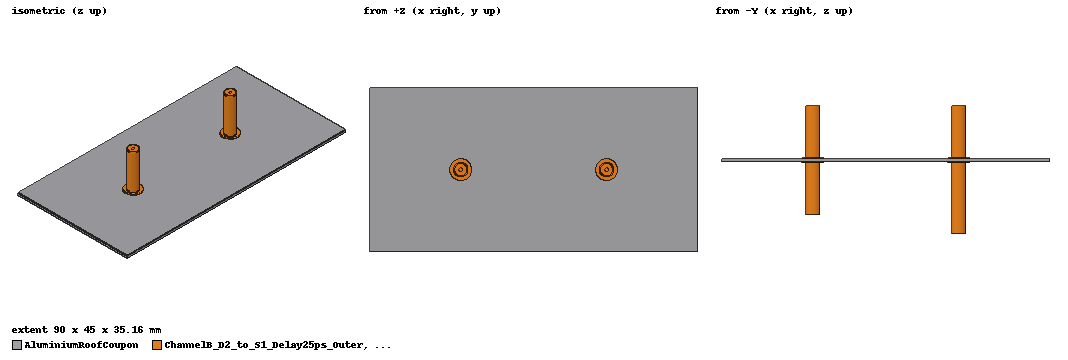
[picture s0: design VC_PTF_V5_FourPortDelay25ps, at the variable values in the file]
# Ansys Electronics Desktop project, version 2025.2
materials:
  vacuum: permittivity=1
  VC_PTFE: permittivity=2.1 dielectric_loss_tangent=0.0002
  aluminum: permeability=1.000021 conductivity=38000000
  copper: permeability=0.999991 conductivity=58000000

design VC_PTF_V5_FourPortDelay25ps (HFSS, HFSS Hybrid Modal Network, model units mm)
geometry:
  AluminiumRoofCoupon [aluminum] = box(corner=(-45mm, -22.5mm, -0.5mm), size=(90mm, 45mm, 1mm))
  RoofHoleTool1 = cylinder(axis=Z, base_centre=(-20mm, 0mm, -1mm), radius=2mm, height=2mm)
  AluminiumRoofCoupon.subtract(RoofHoleTool1)
  RoofHoleTool2 = cylinder(axis=Z, base_centre=(20mm, 0mm, -1mm), radius=2mm, height=2mm)
  AluminiumRoofCoupon.subtract(RoofHoleTool2)
  ChannelA_D1_to_S2_Inner [copper] = cylinder(axis=Z, base_centre=(-20mm, 0mm, -15mm), radius=0.5mm, height=30mm)
  ChannelA_D1_to_S2_PTFE [VC_PTFE] = cylinder(axis=Z, base_centre=(-20mm, 0mm, -15mm), radius=1.675mm, height=30mm)
  ChannelA_D1_to_S2_Outer [copper] = cylinder(axis=Z, base_centre=(-20mm, 0mm, -15mm), radius=2mm, height=30mm)
  ChannelA_D1_to_S2_OuterTool = cylinder(axis=Z, base_centre=(-20mm, 0mm, -15mm), radius=1.675mm, height=30mm)
  ChannelA_D1_to_S2_Outer.subtract(ChannelA_D1_to_S2_OuterTool)
  ChannelA_D1_to_S2_RoofBondTop = cylinder(axis=Z, base_centre=(-20mm, 0mm, 0.5mm), radius=3mm, height=0.2mm)
  ChannelA_D1_to_S2_RoofBondTopTool = cylinder(axis=Z, base_centre=(-20mm, 0mm, 0.49mm), radius=1.675mm, height=0.22mm)
  ChannelA_D1_to_S2_RoofBondTop.subtract(ChannelA_D1_to_S2_RoofBondTopTool)
  ChannelA_D1_to_S2_RoofBondBottom = cylinder(axis=Z, base_centre=(-20mm, 0mm, -0.7mm), radius=3mm, height=0.2mm)
  ChannelA_D1_to_S2_RoofBondBottomTool = cylinder(axis=Z, base_centre=(-20mm, 0mm, -0.71mm), radius=1.675mm, height=0.22mm)
  ChannelA_D1_to_S2_RoofBondBottom.subtract(ChannelA_D1_to_S2_RoofBondBottomTool)
  ChannelA_D1_to_S2_Outer.unite(ChannelA_D1_to_S2_RoofBondTop, ChannelA_D1_to_S2_RoofBondBottom)
  ChannelB_D2_to_S1_Delay25ps_Inner [copper] = cylinder(axis=Z, base_centre=(20mm, 0mm, -20.16mm), radius=0.5mm, height=35.16mm)
  ChannelB_D2_to_S1_Delay25ps_PTFE [VC_PTFE] = cylinder(axis=Z, base_centre=(20mm, 0mm, -20.16mm), radius=1.675mm, height=35.16mm)
  ChannelB_D2_to_S1_Delay25ps_Outer [copper] = cylinder(axis=Z, base_centre=(20mm, 0mm, -20.16mm), radius=2mm, height=35.16mm)
  ChannelB_D2_to_S1_Delay25ps_OuterTool = cylinder(axis=Z, base_centre=(20mm, 0mm, -20.16mm), radius=1.675mm, height=35.16mm)
  ChannelB_D2_to_S1_Delay25ps_Outer.subtract(ChannelB_D2_to_S1_Delay25ps_OuterTool)
  ChannelB_D2_to_S1_Delay25ps_RoofBondTop = cylinder(axis=Z, base_centre=(20mm, 0mm, 0.5mm), radius=3mm, height=0.2mm)
  ChannelB_D2_to_S1_Delay25ps_RoofBondTopTool = cylinder(axis=Z, base_centre=(20mm, 0mm, 0.49mm), radius=1.675mm, height=0.22mm)
  ChannelB_D2_to_S1_Delay25ps_RoofBondTop.subtract(ChannelB_D2_to_S1_Delay25ps_RoofBondTopTool)
  ChannelB_D2_to_S1_Delay25ps_RoofBondBottom = cylinder(axis=Z, base_centre=(20mm, 0mm, -0.7mm), radius=3mm, height=0.2mm)
  ChannelB_D2_to_S1_Delay25ps_RoofBondBottomTool = cylinder(axis=Z, base_centre=(20mm, 0mm, -0.71mm), radius=1.675mm, height=0.22mm)
  ChannelB_D2_to_S1_Delay25ps_RoofBondBottom.subtract(ChannelB_D2_to_S1_Delay25ps_RoofBondBottomTool)
  ChannelB_D2_to_S1_Delay25ps_Outer.unite(ChannelB_D2_to_S1_Delay25ps_RoofBondTop, ChannelB_D2_to_S1_Delay25ps_RoofBondBottom)
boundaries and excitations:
  Port1_DonorMinus: Wave Port Faces=ChannelA_D1_to_S2_PTFE.face(+z end) WavePortType=Modal NumModes=1 Modes{Mode1{IntLine{(-20, 0, 15) -> (-18.325, 0, 15)} CharImp=Zpi RenormImp=50ohm}}
  Port2_DonorPlus: Wave Port Faces=ChannelB_D2_to_S1_Delay25ps_PTFE.face(+z end) WavePortType=Modal NumModes=1 Modes{Mode1{IntLine{(20, 0, 15) -> (21.675, 0, 15)} CharImp=Zpi RenormImp=50ohm}}
  Port3_ServiceMinus: Wave Port Faces=ChannelB_D2_to_S1_Delay25ps_PTFE.face(-z end) WavePortType=Modal NumModes=1 Modes{Mode1{IntLine{(20, 0, -20.16) -> (21.675, 0, -20.16)} CharImp=Zpi RenormImp=50ohm}}
  Port4_ServicePlus: Wave Port Faces=ChannelA_D1_to_S2_PTFE.face(-z end) WavePortType=Modal NumModes=1 Modes{Mode1{IntLine{(-20, 0, -15) -> (-18.325, 0, -15)} CharImp=Zpi RenormImp=50ohm}}
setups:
  Setup_PTF_V5: HfssDriven Frequency=3.55GHz MaxDeltaS=0.005 MaximumPasses=10 MinimumPasses=3 MinimumConvergedPasses=2 PercentRefinement=20 BasisOrder=1 PortAccuracy=4 DrivenSolverType="Direct Solver"
    sweep Sweep_n78: 3.3GHz to 3.8GHz step 0.025GHz; Type=Interpolating InterpTolerance=0.5 InterpMaxSolns=250 InterpUsePortImped=false PassivityErrorTolerance=0.0001
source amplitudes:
  Port1_DonorMinus:1: 1W 0deg
  Port2_DonorPlus:1, Port3_ServiceMinus:1, Port4_ServicePlus:1: 0W 0deg
